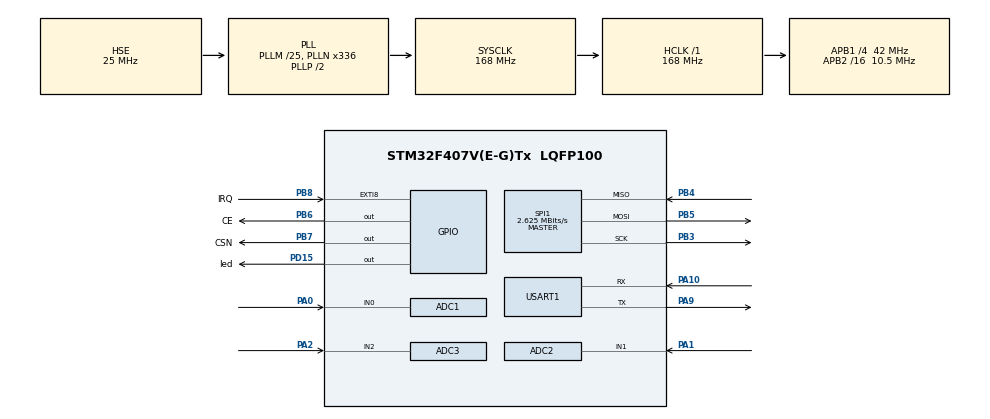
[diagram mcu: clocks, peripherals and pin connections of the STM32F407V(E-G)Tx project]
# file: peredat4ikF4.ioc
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ADC1.Channel-0\#ChannelRegularConversion=ADC_CHANNEL_0
ADC1.ClockPrescaler=ADC_CLOCK_SYNC_PCLK_DIV4
ADC1.ContinuousConvMode=ENABLE
ADC1.NbrOfConversionFlag=1
ADC1.Rank-0\#ChannelRegularConversion=1
ADC1.SamplingTime-0\#ChannelRegularConversion=ADC_SAMPLETIME_480CYCLES
ADC1.master=1
ADC2.Channel-1\#ChannelRegularConversion=ADC_CHANNEL_1
ADC2.ClockPrescaler=ADC_CLOCK_SYNC_PCLK_DIV4
ADC2.ContinuousConvMode=ENABLE
ADC2.NbrOfConversionFlag=1
ADC2.Rank-1\#ChannelRegularConversion=1
ADC2.SamplingTime-1\#ChannelRegularConversion=ADC_SAMPLETIME_480CYCLES
ADC3.Channel-1\#ChannelRegularConversion=ADC_CHANNEL_2
ADC3.ClockPrescaler=ADC_CLOCK_SYNC_PCLK_DIV4
ADC3.ContinuousConvMode=ENABLE
ADC3.NbrOfConversionFlag=1
ADC3.Rank-1\#ChannelRegularConversion=1
ADC3.SamplingTime-1\#ChannelRegularConversion=ADC_SAMPLETIME_480CYCLES
Mcu.Family=STM32F4
Mcu.Name=STM32F407V(E-G)Tx
Mcu.Package=LQFP100
NVIC.PriorityGroup=NVIC_PRIORITYGROUP_4
PA0-WKUP.Signal=ADCx_IN0
PA1.Signal=ADCx_IN1
PA10.Mode=Asynchronous
PA10.Signal=USART1_RX
PA13.Mode=Serial_Wire
PA13.Signal=SYS_JTMS-SWDIO
PA14.Mode=Serial_Wire
PA14.Signal=SYS_JTCK-SWCLK
PA2.Signal=ADCx_IN2
PA9.Mode=Asynchronous
PA9.Signal=USART1_TX
PB3.Mode=Full_Duplex_Master
PB3.Signal=SPI1_SCK
PB4.Mode=Full_Duplex_Master
PB4.Signal=SPI1_MISO
PB5.Mode=Full_Duplex_Master
PB5.Signal=SPI1_MOSI
PB6.GPIO_Label=CE
PB6.Signal=GPIO_Output
PB7.GPIO_Label=CSN
PB7.Signal=GPIO_Output
PB8.GPIO_Label=IRQ
PB8.Signal=GPXTI8
PD15.GPIO_Label=led
PD15.Signal=GPIO_Output
PH0-OSC_IN.Mode=HSE-External-Oscillator
PH0-OSC_IN.Signal=RCC_OSC_IN
PH1-OSC_OUT.Mode=HSE-External-Oscillator
PH1-OSC_OUT.Signal=RCC_OSC_OUT
ProjectManager.HeapSize=0x200
ProjectManager.StackSize=0x400
ProjectManager.TargetToolchain=MDK-ARM V5.32
RCC.48MHZClocksFreq_Value=84000000
RCC.AHBFreq_Value=168000000
RCC.APB1CLKDivider=RCC_HCLK_DIV4
RCC.APB1Freq_Value=42000000
RCC.APB1TimFreq_Value=84000000
RCC.APB2CLKDivider=RCC_HCLK_DIV16
RCC.APB2Freq_Value=10500000
RCC.APB2TimFreq_Value=21000000
RCC.CortexFreq_Value=168000000
RCC.HCLKFreq_Value=168000000
RCC.HSE_VALUE=25000000
RCC.HSI_VALUE=16000000
RCC.LSE_VALUE=32768
RCC.PLLM=25
RCC.PLLN=336
RCC.PLLSourceVirtual=RCC_PLLSOURCE_HSE
RCC.SYSCLKFreq_VALUE=168000000
RCC.SYSCLKSource=RCC_SYSCLKSOURCE_PLLCLK
RCC.VCOOutputFreq_Value=336000000
SH.ADCx_IN0.0=ADC1_IN0,IN0
SH.ADCx_IN1.0=ADC2_IN1,IN1
SH.ADCx_IN2.0=ADC3_IN2,IN2
SPI1.BaudRatePrescaler=SPI_BAUDRATEPRESCALER_4
SPI1.CalculateBaudRate=2.625 MBits/s
SPI1.Direction=SPI_DIRECTION_2LINES
SPI1.Mode=SPI_MODE_MASTER
SPI1.VirtualType=VM_MASTER
USART1.VirtualMode=VM_ASYNC
board=custom

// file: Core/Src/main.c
/* USER CODE BEGIN Header */
/**
  ******************************************************************************
  * @file           : main.c
  * @brief          : Main program body
  ******************************************************************************
  * @attention
  *
  * <h2><center>&copy; Copyright (c) 2019 STMicroelectronics.
  * All rights reserved.</center></h2>
  *
  * This software component is licensed by ST under BSD 3-Clause license,
  * the "License"; You may not use this file except in compliance with the
  * License. You may obtain a copy of the License at:
  *                        opensource.org/licenses/BSD-3-Clause
  *
  ******************************************************************************
  */
/* USER CODE END Header */
#include "main.h"

/* USER CODE BEGIN Includes */
#include "RF24.h"
/* USER CODE END Includes */

ADC_HandleTypeDef hadc1;
ADC_HandleTypeDef hadc2;
ADC_HandleTypeDef hadc3;

SPI_HandleTypeDef hspi1;

UART_HandleTypeDef huart1;

void SystemClock_Config(void);
static void MX_GPIO_Init(void);
static void MX_ADC1_Init(void);
static void MX_ADC2_Init(void);
static void MX_ADC3_Init(void);
static void MX_SPI1_Init(void);
static void MX_USART1_UART_Init(void);

/* USER CODE BEGIN 0 */
void HAL_GPIO_EXTI_Callback(uint16_t GPIO_Pin)
{
	if(GPIO_Pin	== IRQ_Pin)
	{
		HAL_UART_Transmit(&huart1, (uint8_t*)"IRQ\n", strlen("IRQ\n"), 1000);
	}
}
/* USER CODE END 0 */

int main(void)
{
  /* USER CODE BEGIN 1 */
int per1,per2;
  /* USER CODE END 1 */

  /* MCU Configuration--------------------------------------------------------*/

  /* Reset of all peripherals, Initializes the Flash interface and the Systick. */
  HAL_Init();

  /* Configure the system clock */
  SystemClock_Config();

  /* Initialize all configured peripherals */
  MX_GPIO_Init();
  MX_ADC1_Init();
  MX_ADC2_Init();
  MX_ADC3_Init();
  MX_SPI1_Init();
  MX_USART1_UART_Init();
  /* USER CODE BEGIN 2 */
  DWT_Init(); // ??????? ??? ?????????????? ????

  const uint64_t pipe1 = 0xE8E8F0F0E2LL;

  uint8_t res = isChipConnected(); // ????????? ????????? ?? ?????? ? SPI

  char str[64] = {0,};
  snprintf(str, 64, "Connected: %s\n", 1 ? "OK" : "NOT OK");
  HAL_UART_Transmit(&huart1, (uint8_t*)str, strlen(str), 1000);

  res = NRF_Init(); // ?????????????

  snprintf(str, 64, "Init: %s\n", res > 0 && res < 255 ? "OK" : "NOT OK");
  HAL_UART_Transmit(&huart1, (uint8_t*)str, strlen(str), 1000);

  ////////////// SET ////////////////
  enableAckPayload();
  //setAutoAck(false);
  //setPayloadSize(6);
  setChannel(19);
  openWritingPipe(pipe1);
  ///////////////////////////////////

  ////////////////////////// ????? ?????? ????????, ??? ?????? ?? ????? /////////////////////////////
  uint8_t status = get_status();
  snprintf(str, 64, "get_status: 0x%02x\n", status);
  HAL_UART_Transmit(&huart1, (uint8_t*)str, strlen(str), 1000);

  status = getPALevel();
  snprintf(str, 64, "getPALevel: 0x%02x  ", status);
  HAL_UART_Transmit(&huart1, (uint8_t*)str, strlen(str), 1000);

  if(status == 0x00)
  {
	  HAL_UART_Transmit(&huart1, (uint8_t*)"RF24_PA_MIN\n", strlen("RF24_PA_MIN\n"), 1000);
  }
  else if(status == 0x01)
  {
	  HAL_UART_Transmit(&huart1, (uint8_t*)"RF24_PA_LOW\n", strlen("RF24_PA_LOW\n"), 1000);
  }
  else if(status == 0x02)
  {
	  HAL_UART_Transmit(&huart1, (uint8_t*)"RF24_PA_HIGH\n", strlen("RF24_PA_HIGH\n"), 1000);
  }
  else if(status == 0x03)
  {
	  HAL_UART_Transmit(&huart1, (uint8_t*)"RF24_PA_MAX\n", strlen("RF24_PA_MAX\n"), 1000);
  }

  status = getChannel();
  snprintf(str, 64, "getChannel: 0x%02x ? %d\n", status, status);
  HAL_UART_Transmit(&huart1, (uint8_t*)str, strlen(str), 1000);

  status = getDataRate();
  snprintf(str, 64, "getDataRate: 0x%02x  ", status);
  HAL_UART_Transmit(&huart1, (uint8_t*)str, strlen(str), 1000);

  if(status == 0x02)
  {
	  HAL_UART_Transmit(&huart1, (uint8_t*)"RF24_250KBPS\n", strlen("RF24_250KBPS\n"), 1000);
  }
  else if(status == 0x01)
  {
	  HAL_UART_Transmit(&huart1, (uint8_t*)"RF24_2MBPS\n", strlen("RF24_2MBPS\n"), 1000);
  }
  else
  {
	  HAL_UART_Transmit(&huart1, (uint8_t*)"RF24_1MBPS\n", strlen("RF24_1MBPS\n"), 1000);
  }

  status = getPayloadSize();
  snprintf(str, 64, "getPayloadSize: %d\n", status);
  HAL_UART_Transmit(&huart1, (uint8_t*)str, strlen(str), 1000);

  status = getCRCLength();
  snprintf(str, 64, "getCRCLength: 0x%02x  ", status);
  HAL_UART_Transmit(&huart1, (uint8_t*)str, strlen(str), 1000);

  if(status == 0x00)
  {
	  HAL_UART_Transmit(&huart1, (uint8_t*)"RF24_CRC_DISABLED\n", strlen("RF24_CRC_DISABLED\n"), 1000);
  }
  else if(status == 0x01)
  {
	  HAL_UART_Transmit(&huart1, (uint8_t*)"RF24_CRC_8\n", strlen("RF24_CRC_8\n"), 1000);
  }
  else if(status == 0x02)
  {
	  HAL_UART_Transmit(&huart1, (uint8_t*)"RF24_CRC_16\n", strlen("RF24_CRC_16\n"), 1000);
  }
  /////////////////////////////////////////////////////////////////////////////////////////////////////

  maskIRQ(true, true, true); // ????????? ??????????
  /* USER CODE END 2 */

  /* Infinite loop */
  /* USER CODE BEGIN WHILE */
  while (1)
  {
		HAL_ADC_Start(&hadc1);
		HAL_ADC_Start(&hadc2);
		HAL_ADC_Start(&hadc3);
		HAL_ADC_PollForConversion(&hadc1,1000);
		HAL_ADC_PollForConversion(&hadc2,1000);
		HAL_ADC_PollForConversion(&hadc3,1000);
	  ///////////////////////////////////// ???????? /////////////////////////////////////////////
	  uint8_t nrf_data[32] = {0,}; // ????? ????????? ????????????? ???????

	  nrf_data[0] = 77;
	  nrf_data[1] = 86;
	  nrf_data[2] = 97;
		nrf_data[3] = ((HAL_ADC_GetValue(&hadc1)/4095.0f)*50)+50; //motor
		nrf_data[4] = (HAL_ADC_GetValue(&hadc2)*100/4095)+100;
		nrf_data[5] = (HAL_ADC_GetValue(&hadc3)*100/4095)+100;

	  uint8_t remsg = 0; // ?????????? ??? ?????? ????? ?????????? ?????? ? ???????

	  if(write(&nrf_data, strlen((const char*)nrf_data))) // ?????????? ??????
	  {

		}
	  else HAL_UART_Transmit(&huart1, (uint8_t*)"Not write\n", strlen("Not write\n"), 1000);

	  HAL_Delay(100);

    /* USER CODE END WHILE */

  }
}

void SystemClock_Config(void)
{
  RCC_OscInitTypeDef RCC_OscInitStruct = {0};
  RCC_ClkInitTypeDef RCC_ClkInitStruct = {0};

  /** Configure the main internal regulator output voltage
  */
  __HAL_RCC_PWR_CLK_ENABLE();
  __HAL_PWR_VOLTAGESCALING_CONFIG(PWR_REGULATOR_VOLTAGE_SCALE1);

  /** Initializes the RCC Oscillators according to the specified parameters
  * in the RCC_OscInitTypeDef structure.
  */
  RCC_OscInitStruct.OscillatorType = RCC_OSCILLATORTYPE_HSE;
  RCC_OscInitStruct.HSEState = RCC_HSE_ON;
  RCC_OscInitStruct.PLL.PLLState = RCC_PLL_ON;
  RCC_OscInitStruct.PLL.PLLSource = RCC_PLLSOURCE_HSE;
  RCC_OscInitStruct.PLL.PLLM = 25;
  RCC_OscInitStruct.PLL.PLLN = 336;
  RCC_OscInitStruct.PLL.PLLP = RCC_PLLP_DIV2;
  RCC_OscInitStruct.PLL.PLLQ = 4;
  if (HAL_RCC_OscConfig(&RCC_OscInitStruct) != HAL_OK)
  {
    Error_Handler();
  }

  /** Initializes the CPU, AHB and APB buses clocks
  */
  RCC_ClkInitStruct.ClockType = RCC_CLOCKTYPE_HCLK|RCC_CLOCKTYPE_SYSCLK
                              |RCC_CLOCKTYPE_PCLK1|RCC_CLOCKTYPE_PCLK2;
  RCC_ClkInitStruct.SYSCLKSource = RCC_SYSCLKSOURCE_PLLCLK;
  RCC_ClkInitStruct.AHBCLKDivider = RCC_SYSCLK_DIV1;
  RCC_ClkInitStruct.APB1CLKDivider = RCC_HCLK_DIV4;
  RCC_ClkInitStruct.APB2CLKDivider = RCC_HCLK_DIV16;

  if (HAL_RCC_ClockConfig(&RCC_ClkInitStruct, FLASH_LATENCY_5) != HAL_OK)
  {
    Error_Handler();
  }
}

static void MX_ADC1_Init(void)
{

  ADC_ChannelConfTypeDef sConfig = {0};

  /** Configure the global features of the ADC (Clock, Resolution, Data Alignment and number of conversion)
  */
  hadc1.Instance = ADC1;
  hadc1.Init.ClockPrescaler = ADC_CLOCK_SYNC_PCLK_DIV4;
  hadc1.Init.Resolution = ADC_RESOLUTION_12B;
  hadc1.Init.ScanConvMode = DISABLE;
  hadc1.Init.ContinuousConvMode = ENABLE;
  hadc1.Init.DiscontinuousConvMode = DISABLE;
  hadc1.Init.ExternalTrigConvEdge = ADC_EXTERNALTRIGCONVEDGE_NONE;
  hadc1.Init.ExternalTrigConv = ADC_SOFTWARE_START;
  hadc1.Init.DataAlign = ADC_DATAALIGN_RIGHT;
  hadc1.Init.NbrOfConversion = 1;
  hadc1.Init.DMAContinuousRequests = DISABLE;
  hadc1.Init.EOCSelection = ADC_EOC_SINGLE_CONV;
  if (HAL_ADC_Init(&hadc1) != HAL_OK)
  {
    Error_Handler();
  }

  /** Configure for the selected ADC regular channel its corresponding rank in the sequencer and its sample time.
  */
  sConfig.Channel = ADC_CHANNEL_0;
  sConfig.Rank = 1;
  sConfig.SamplingTime = ADC_SAMPLETIME_480CYCLES;
  if (HAL_ADC_ConfigChannel(&hadc1, &sConfig) != HAL_OK)
  {
    Error_Handler();
  }

}

static void MX_ADC2_Init(void)
{

  ADC_ChannelConfTypeDef sConfig = {0};

  /** Configure the global features of the ADC (Clock, Resolution, Data Alignment and number of conversion)
  */
  hadc2.Instance = ADC2;
  hadc2.Init.ClockPrescaler = ADC_CLOCK_SYNC_PCLK_DIV4;
  hadc2.Init.Resolution = ADC_RESOLUTION_12B;
  hadc2.Init.ScanConvMode = DISABLE;
  hadc2.Init.ContinuousConvMode = ENABLE;
  hadc2.Init.DiscontinuousConvMode = DISABLE;
  hadc2.Init.ExternalTrigConvEdge = ADC_EXTERNALTRIGCONVEDGE_NONE;
  hadc2.Init.ExternalTrigConv = ADC_SOFTWARE_START;
  hadc2.Init.DataAlign = ADC_DATAALIGN_RIGHT;
  hadc2.Init.NbrOfConversion = 1;
  hadc2.Init.DMAContinuousRequests = DISABLE;
  hadc2.Init.EOCSelection = ADC_EOC_SINGLE_CONV;
  if (HAL_ADC_Init(&hadc2) != HAL_OK)
  {
    Error_Handler();
  }

  /** Configure for the selected ADC regular channel its corresponding rank in the sequencer and its sample time.
  */
  sConfig.Channel = ADC_CHANNEL_1;
  sConfig.Rank = 1;
  sConfig.SamplingTime = ADC_SAMPLETIME_480CYCLES;
  if (HAL_ADC_ConfigChannel(&hadc2, &sConfig) != HAL_OK)
  {
    Error_Handler();
  }

}

static void MX_ADC3_Init(void)
{

  ADC_ChannelConfTypeDef sConfig = {0};

  /** Configure the global features of the ADC (Clock, Resolution, Data Alignment and number of conversion)
  */
  hadc3.Instance = ADC3;
  hadc3.Init.ClockPrescaler = ADC_CLOCK_SYNC_PCLK_DIV4;
  hadc3.Init.Resolution = ADC_RESOLUTION_12B;
  hadc3.Init.ScanConvMode = DISABLE;
  hadc3.Init.ContinuousConvMode = ENABLE;
  hadc3.Init.DiscontinuousConvMode = DISABLE;
  hadc3.Init.ExternalTrigConvEdge = ADC_EXTERNALTRIGCONVEDGE_NONE;
  hadc3.Init.ExternalTrigConv = ADC_SOFTWARE_START;
  hadc3.Init.DataAlign = ADC_DATAALIGN_RIGHT;
  hadc3.Init.NbrOfConversion = 1;
  hadc3.Init.DMAContinuousRequests = DISABLE;
  hadc3.Init.EOCSelection = ADC_EOC_SINGLE_CONV;
  if (HAL_ADC_Init(&hadc3) != HAL_OK)
  {
    Error_Handler();
  }

  /** Configure for the selected ADC regular channel its corresponding rank in the sequencer and its sample time.
  */
  sConfig.Channel = ADC_CHANNEL_2;
  sConfig.Rank = 1;
  sConfig.SamplingTime = ADC_SAMPLETIME_480CYCLES;
  if (HAL_ADC_ConfigChannel(&hadc3, &sConfig) != HAL_OK)
  {
    Error_Handler();
  }

}

static void MX_SPI1_Init(void)
{

  /* SPI1 parameter configuration*/
  hspi1.Instance = SPI1;
  hspi1.Init.Mode = SPI_MODE_MASTER;
  hspi1.Init.Direction = SPI_DIRECTION_2LINES;
  hspi1.Init.DataSize = SPI_DATASIZE_8BIT;
  hspi1.Init.CLKPolarity = SPI_POLARITY_LOW;
  hspi1.Init.CLKPhase = SPI_PHASE_1EDGE;
  hspi1.Init.NSS = SPI_NSS_SOFT;
  hspi1.Init.BaudRatePrescaler = SPI_BAUDRATEPRESCALER_4;
  hspi1.Init.FirstBit = SPI_FIRSTBIT_MSB;
  hspi1.Init.TIMode = SPI_TIMODE_DISABLE;
  hspi1.Init.CRCCalculation = SPI_CRCCALCULATION_DISABLE;
  hspi1.Init.CRCPolynomial = 10;
  if (HAL_SPI_Init(&hspi1) != HAL_OK)
  {
    Error_Handler();
  }

}

static void MX_USART1_UART_Init(void)
{

  huart1.Instance = USART1;
  huart1.Init.BaudRate = 115200;
  huart1.Init.WordLength = UART_WORDLENGTH_8B;
  huart1.Init.StopBits = UART_STOPBITS_1;
  huart1.Init.Parity = UART_PARITY_NONE;
  huart1.Init.Mode = UART_MODE_TX_RX;
  huart1.Init.HwFlowCtl = UART_HWCONTROL_NONE;
  huart1.Init.OverSampling = UART_OVERSAMPLING_16;
  if (HAL_UART_Init(&huart1) != HAL_OK)
  {
    Error_Handler();
  }

}

static void MX_GPIO_Init(void)
{
  GPIO_InitTypeDef GPIO_InitStruct = {0};

  /* GPIO Ports Clock Enable */
  __HAL_RCC_GPIOH_CLK_ENABLE();
  __HAL_RCC_GPIOA_CLK_ENABLE();
  __HAL_RCC_GPIOD_CLK_ENABLE();
  __HAL_RCC_GPIOB_CLK_ENABLE();

  /*Configure GPIO pin Output Level */
  HAL_GPIO_WritePin(led_GPIO_Port, led_Pin, GPIO_PIN_RESET);

  /*Configure GPIO pin Output Level */
  HAL_GPIO_WritePin(GPIOB, CE_Pin|CSN_Pin, GPIO_PIN_RESET);

  /*Configure GPIO pin : led_Pin */
  GPIO_InitStruct.Pin = led_Pin;
  GPIO_InitStruct.Mode = GPIO_MODE_OUTPUT_PP;
  GPIO_InitStruct.Pull = GPIO_NOPULL;
  GPIO_InitStruct.Speed = GPIO_SPEED_FREQ_LOW;
  HAL_GPIO_Init(led_GPIO_Port, &GPIO_InitStruct);

  /*Configure GPIO pins : CE_Pin CSN_Pin */
  GPIO_InitStruct.Pin = CE_Pin|CSN_Pin;
  GPIO_InitStruct.Mode = GPIO_MODE_OUTPUT_PP;
  GPIO_InitStruct.Pull = GPIO_NOPULL;
  GPIO_InitStruct.Speed = GPIO_SPEED_FREQ_LOW;
  HAL_GPIO_Init(GPIOB, &GPIO_InitStruct);

  /*Configure GPIO pin : IRQ_Pin */
  GPIO_InitStruct.Pin = IRQ_Pin;
  GPIO_InitStruct.Mode = GPIO_MODE_IT_RISING;
  GPIO_InitStruct.Pull = GPIO_NOPULL;
  HAL_GPIO_Init(IRQ_GPIO_Port, &GPIO_InitStruct);

}

void Error_Handler(void)
{
}
